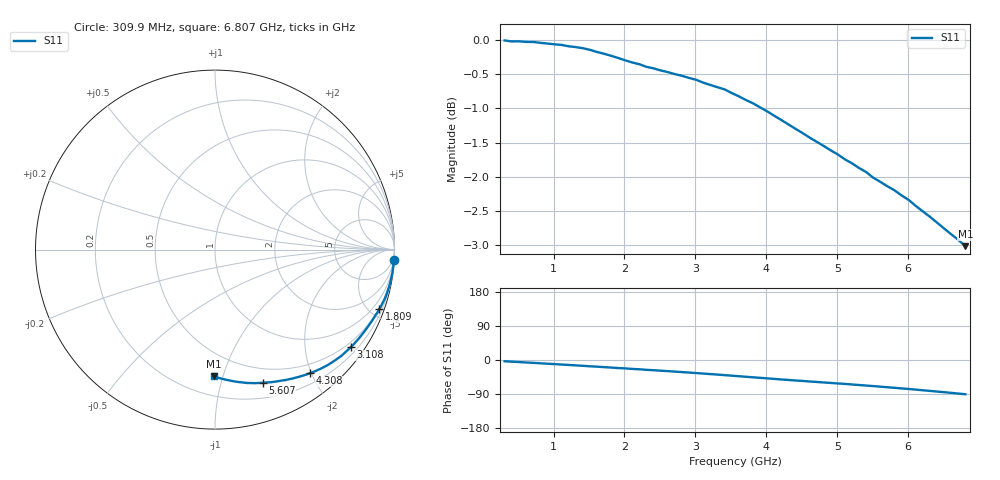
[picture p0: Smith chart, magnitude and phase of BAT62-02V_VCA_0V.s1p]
! Infineon Technologies  Discrete & RF Semiconductors
! BAT62-02V
! VCA = 0 V
! One-Port S-Parameters
# Hz  S  MA  R  50
!f  S11
!Hz  Mag  Ang
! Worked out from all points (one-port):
!   66 points, 309.9 MHz to 6.807 GHz, reference 50 ohm
!   lowest |S11| = -3.0 dB at 6.807 GHz (marker M1), VSWR 5.82, Z = 16.6 - j46.9 ohm
!   |S11| at or under -10 dB: nowhere
!   S11 on the Smith chart (normalised r, x): 309.9 MHz: 0, -34; 1.809 GHz: 0.44, -5.67; 3.108 GHz: 0.37, -3.06; 4.308 GHz: 0.35, -1.97; 5.607 GHz: 0.35, -1.36; 6.807 GHz: 0.33, -0.94
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3.0985e8  0.9994 -3.3
7.0965e8  0.9968 -7.5
1.10945e9  0.992 -12.0
1.2094e9  0.9897 -13.0
1.4093e9  0.9865 -15.2
1.50925e9  0.9839 -16.6
1.6092e9  0.9803 -17.5
1.70915e9  0.9773 -18.9
1.8091e9  0.974 -19.9
1.90905e9  0.9704 -21.3
2.009e9  0.9665 -22.1
2.10895e9  0.963 -23.5
2.2089e9  0.9602 -24.5
2.30885e9  0.956 -25.9
2.6087e9  0.9476 -29.3
2.8086e9  0.9417 -31.8
3.10845e9  0.9309 -35.8
3.4083e9  0.9205 -39.9
3.6082e9  0.9099 -42.8
4.008e9  0.8872 -48.4
4.30785e9  0.8678 -52.6
4.4078e9  0.8615 -54.1
4.8076e9  0.8368 -59.3
5.2074e9  0.8126 -64.6
5.6072e9  0.7876 -70.4
6.007e9  0.764 -76.6
6.4068e9  0.7354 -83.2
6.8066e9  0.7068 -90.3
